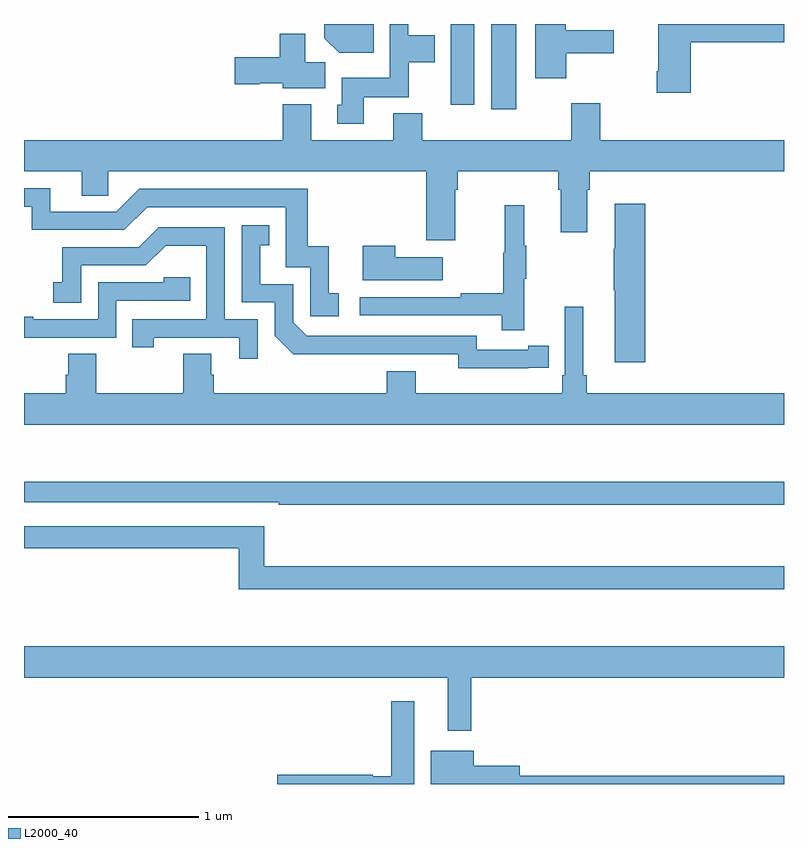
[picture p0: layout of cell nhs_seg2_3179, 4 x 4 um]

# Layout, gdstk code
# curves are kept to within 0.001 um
import gdstk
lib = gdstk.Library(unit=1e-6, precision=1e-09)
def R(c, l, rs):  # rectangles x0, y0, x1, y1
    for r in rs: c.add(gdstk.rectangle(r[:2], r[2:], *l))
def P(c, l, *ps):  # polygons
    for p in ps: c.add(gdstk.Polygon(p, *l))
L2000_40 = (2000, 40)

nhs_seg2_3179 = lib.new_cell('nhs_seg2_3179')
R(nhs_seg2_3179, L2000_40, [(281.459,593.352,281.59,593.8), (281.246,593.376,281.371,593.8)])
P(nhs_seg2_3179, L2000_40, [(280.789,593.414),(281.025,593.414),(281.025,593.6),(281.161,593.6),(281.161,593.74),(281.022,593.74),(281.022,593.8),(280.926,593.8),(280.926,593.518),(280.673,593.518),(280.673,593.376),(280.649,593.376),(280.649,593.274),(280.789,593.274)],
  [(281.854,593.645),(282.103,593.645),(282.103,593.767),(281.852,593.767),(281.852,593.8),(281.69,593.8),(281.69,593.514),(281.854,593.514)],
  [(280.841,593.8),(280.58,593.8),(280.58,593.726),(280.658,593.648),(280.841,593.648)],
  [(282.509,593.704),(283,593.704),(283,593.8),(282.338,593.8),(282.338,593.551),(282.331,593.551),(282.331,593.439),(282.509,593.439)],
  [(280.585,593.6),(280.48,593.6),(280.48,593.749),(280.346,593.749),(280.346,593.624),(280.11,593.624),(280.11,593.482),(280.242,593.482),(280.242,593.489),(280.362,593.489),(280.362,593.462),(280.585,593.462)],
  [(281.269,592.928),(281.282,592.928),(281.282,593.024),(281.813,593.024),(281.813,592.928),(281.825,592.928),(281.825,592.704),(281.965,592.704),(281.965,592.928),(281.978,592.928),(281.978,593.024),(283,593.024),(283,593.188),(282.032,593.188),(282.032,593.383),(281.879,593.383),(281.879,593.188),(281.096,593.188),(281.096,593.329),(280.943,593.329),(280.943,593.188),(280.513,593.188),(280.513,593.377),(280.361,593.377),(280.361,593.188),(279,593.188),(279,593.024),(279.305,593.024),(279.305,592.897),(279.444,592.897),(279.444,593.024),(281.117,593.024),(281.117,592.662),(281.269,592.662)],
  [(280.657,592.383),(280.604,592.383),(280.604,592.63),(280.493,592.63),(280.493,592.932),(279.606,592.932),(279.486,592.812),(279.139,592.812),(279.139,592.935),(279,592.935),(279,592.839),(279.042,592.839),(279.042,592.716),(279.528,592.716),(279.648,592.836),(280.377,592.836),(280.377,592.521),(280.506,592.521),(280.506,592.263),(280.657,592.263)],
  [(282.269,592.855),(282.11,592.855),(282.11,592.616),(282.103,592.616),(282.103,592.399),(282.11,592.399),(282.11,592.02),(282.269,592.02)],
  [(281.633,592.459),(281.644,592.459),(281.644,592.633),(281.633,592.633),(281.633,592.846),(281.53,592.846),(281.53,592.596),(281.523,592.596),(281.523,592.382),(281.299,592.382),(281.299,592.362),(280.767,592.362),(280.767,592.266),(281.515,592.266),(281.515,592.188),(281.633,592.188)],
  [(281.654,591.99),(281.762,591.99),(281.762,592.106),(281.654,592.106),(281.654,592.086),(281.382,592.086),(281.382,592.158),(280.488,592.158),(280.416,592.23),(280.416,592.431),(280.243,592.431),(280.243,592.635),(280.292,592.635),(280.292,592.741),(280.146,592.741),(280.146,592.335),(280.32,592.335),(280.32,592.158),(280.418,592.061),(281.286,592.062),(281.286,591.989)],
  [(280.23,592.245),(280.056,592.245),(280.056,592.731),(279.71,592.731),(279.605,592.626),(279.202,592.626),(279.202,592.441),(279.153,592.441),(279.153,592.332),(279.3,592.332),(279.3,592.53),(279.642,592.53),(279.746,592.634),(279.96,592.634),(279.96,592.245),(279.571,592.245),(279.571,592.098),(279.682,592.098),(279.682,592.149),(280.133,592.149),(280.133,592.038),(280.23,592.038)],
  [(281.203,592.573),(280.955,592.573),(280.955,592.633),(280.784,592.633),(280.784,592.451),(281.203,592.451)],
  [(279.486,592.344),(279.875,592.344),(279.875,592.467),(279.735,592.467),(279.735,592.44),(279.39,592.44),(279.39,592.245),(279.049,592.245),(279.049,592.258),(279,592.258),(279,592.149),(279.486,592.149)],
  [(283,591.856),(281.963,591.856),(281.963,591.952),(281.944,591.952),(281.944,592.312),(281.847,592.312),(281.847,591.952),(281.834,591.952),(281.834,591.856),(281.062,591.856),(281.062,591.973),(280.91,591.973),(280.91,591.856),(279.998,591.856),(279.998,591.954),(279.985,591.954),(279.985,592.064),(279.838,592.064),(279.838,591.856),(279.381,591.856),(279.381,592.064),(279.233,592.064),(279.233,591.954),(279.221,591.954),(279.221,591.856),(279,591.856),(279,591.692),(283,591.692)],
  [(283,591.391),(279,591.391),(279,591.282),(280.342,591.282),(280.342,591.27),(283,591.27)],
  [(283,590.947),(280.265,590.947),(280.265,591.156),(279,591.156),(279,591.04),(280.129,591.04),(280.129,590.826),(283,590.826)],
  [(281.353,590.36),(283,590.36),(283,590.524),(279,590.524),(279,590.36),(281.231,590.36),(281.231,590.079),(281.353,590.079)],
  [(281.053,590.236),(280.932,590.236),(280.932,589.84),(280.835,589.84),(280.835,589.85),(280.332,589.85),(280.332,589.8),(281.053,589.8)],
  [(283,589.844),(281.608,589.844),(281.608,589.897),(281.368,589.897),(281.368,589.975),(281.141,589.975),(281.141,589.8),(283,589.8)])

lib.write_gds('nhs_seg2_3179.gds')
